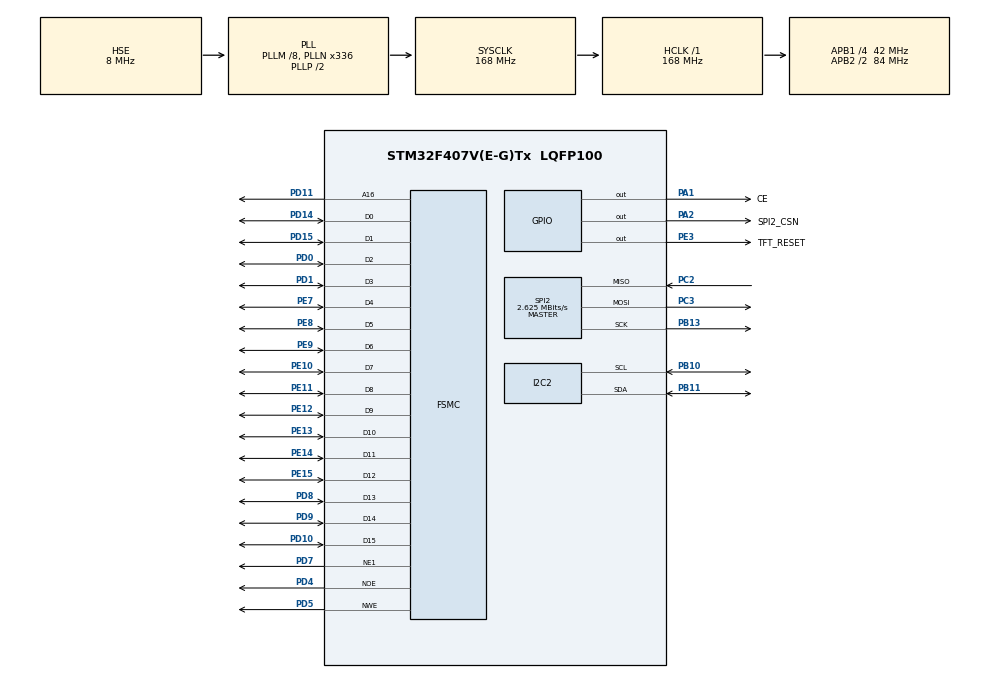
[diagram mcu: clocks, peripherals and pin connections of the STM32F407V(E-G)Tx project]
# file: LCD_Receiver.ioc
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FSMC.AddressSetupTime1=2
FSMC.BusTurnAroundDuration1=1
FSMC.DataSetupTime1=4
Mcu.Family=STM32F4
Mcu.Name=STM32F407V(E-G)Tx
Mcu.Package=LQFP100
NVIC.PriorityGroup=NVIC_PRIORITYGROUP_0
PA1.GPIO_Label=CE
PA1.GPIO_Speed=GPIO_SPEED_FREQ_HIGH
PA1.Signal=GPIO_Output
PA2.GPIO_Label=SPI2_CSN
PA2.GPIO_Speed=GPIO_SPEED_FREQ_HIGH
PA2.PinState=GPIO_PIN_SET
PA2.Signal=GPIO_Output
PB10.GPIO_Pu=GPIO_PULLUP
PB10.Mode=I2C
PB10.Signal=I2C2_SCL
PB11.GPIO_Pu=GPIO_PULLUP
PB11.Mode=I2C
PB11.Signal=I2C2_SDA
PB13.Mode=Full_Duplex_Master
PB13.Signal=SPI2_SCK
PC2.Mode=Full_Duplex_Master
PC2.Signal=SPI2_MISO
PC3.Mode=Full_Duplex_Master
PC3.Signal=SPI2_MOSI
PD0.Mode=16b-d1
PD0.Signal=FSMC_D2
PD1.Mode=16b-d1
PD1.Signal=FSMC_D3
PD10.Mode=16b-d1
PD10.Signal=FSMC_D15
PD11.Mode=A16_1
PD11.Signal=FSMC_A16
PD14.Mode=16b-d1
PD14.Signal=FSMC_D0
PD15.Mode=16b-d1
PD15.Signal=FSMC_D1
PD4.Mode=Lcd1
PD4.Signal=FSMC_NOE
PD5.Mode=Lcd1
PD5.Signal=FSMC_NWE
PD7.Mode=NorPsramChipSelect1_1
PD7.Signal=FSMC_NE1
PD8.Mode=16b-d1
PD8.Signal=FSMC_D13
PD9.Mode=16b-d1
PD9.Signal=FSMC_D14
PE10.Mode=16b-d1
PE10.Signal=FSMC_D7
PE11.Mode=16b-d1
PE11.Signal=FSMC_D8
PE12.Mode=16b-d1
PE12.Signal=FSMC_D9
PE13.Mode=16b-d1
PE13.Signal=FSMC_D10
PE14.Mode=16b-d1
PE14.Signal=FSMC_D11
PE15.Mode=16b-d1
PE15.Signal=FSMC_D12
PE3.GPIO_Label=TFT_RESET
PE3.PinState=GPIO_PIN_SET
PE3.Signal=GPIO_Output
PE7.Mode=16b-d1
PE7.Signal=FSMC_D4
PE8.Mode=16b-d1
PE8.Signal=FSMC_D5
PE9.Mode=16b-d1
PE9.Signal=FSMC_D6
PH0-OSC_IN.Mode=HSE-External-Oscillator
PH0-OSC_IN.Signal=RCC_OSC_IN
PH1-OSC_OUT.Mode=HSE-External-Oscillator
PH1-OSC_OUT.Signal=RCC_OSC_OUT
ProjectManager.HeapSize=0x200
ProjectManager.StackSize=0x400
ProjectManager.TargetToolchain=STM32CubeIDE
RCC.48MHZClocksFreq_Value=48000000
RCC.AHBFreq_Value=168000000
RCC.APB1CLKDivider=RCC_HCLK_DIV4
RCC.APB1Freq_Value=42000000
RCC.APB1TimFreq_Value=84000000
RCC.APB2CLKDivider=RCC_HCLK_DIV2
RCC.APB2Freq_Value=84000000
RCC.APB2TimFreq_Value=168000000
RCC.CortexFreq_Value=168000000
RCC.HCLKFreq_Value=168000000
RCC.HSE_VALUE=8000000
RCC.HSI_VALUE=16000000
RCC.LSE_VALUE=32768
RCC.PLLM=8
RCC.PLLN=336
RCC.PLLQ=7
RCC.PLLSourceVirtual=RCC_PLLSOURCE_HSE
RCC.RCC_MCO1Source=RCC_MCO1SOURCE_PLLCLK
RCC.RCC_MCODiv1=RCC_MCODIV_4
RCC.SYSCLKFreq_VALUE=168000000
RCC.SYSCLKSource=RCC_SYSCLKSOURCE_PLLCLK
RCC.VCOOutputFreq_Value=336000000
SPI2.BaudRatePrescaler=SPI_BAUDRATEPRESCALER_16
SPI2.CalculateBaudRate=2.625 MBits/s
SPI2.Direction=SPI_DIRECTION_2LINES
SPI2.Mode=SPI_MODE_MASTER
SPI2.VirtualType=VM_MASTER
board=STM32F407G-DISC1

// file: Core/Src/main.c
/* USER CODE BEGIN Header */
/**
  ******************************************************************************
  * @file           : main.c
  * @brief          : Main program body
  ******************************************************************************
  * @attention
  *
  * Copyright (c) 2024 STMicroelectronics.
  * All rights reserved.
  *
  * This software is licensed under terms that can be found in the LICENSE file
  * in the root directory of this software component.
  * If no LICENSE file comes with this software, it is provided AS-IS.
  *
  ******************************************************************************
  */
/* USER CODE END Header */
#include "main.h"

/* USER CODE BEGIN Includes */
#include  <stdio.h>
#include  <string.h>
#include "lcdIli9341.h"
#include  "MY_NRF24.h"
/* USER CODE END Includes */

I2C_HandleTypeDef hi2c2;

SPI_HandleTypeDef hspi2;

SRAM_HandleTypeDef hsram1;

/* USER CODE BEGIN PV */
uint64_t RxpipeAddrs  = 0x11223344AA;
uint8_t  myRxData[32] = {0};
uint16_t dummyLine[320]    = {0};

uint16_t oldPixelIndex = 0xFF;
uint16_t newPixelIndex = 0xFF;
uint16_t pixelCounter = 0;
uint16_t lineCounter = 0;

/* USER CODE END PV */

void SystemClock_Config(void);
static void MX_GPIO_Init(void);
static void MX_FSMC_Init(void);
static void MX_I2C2_Init(void);
static void MX_SPI2_Init(void);

/* USER CODE BEGIN 0 */

void parseNrfOutput(uint8_t *rx_data)
{

	newPixelIndex = ((uint16_t)rx_data[1] + ((uint16_t)rx_data[0] << 8));

    if(newPixelIndex != oldPixelIndex)
    {

        for(int i = 0; i < 30; i+=2)
        {
            if(pixelCounter == (1600 - 320))
            {
                dummyLine[lineCounter] = ((uint16_t)rx_data[i+1] + ((uint16_t)rx_data[i] << 8));
                Ili9341_WriteData(dummyLine[lineCounter]);
                lineCounter++;

                if(lineCounter == 320)
                {
                    // Dont Lose any data while writing dummy data
                    NRF24_stopListening();
                    lineCounter  = 0;
                    pixelCounter = 0;

                    for(int i = 0; i < 320; i++)
                        Ili9341_WriteData(dummyLine[i]);

                    Ili9341_SetArea(0, 0, LCD_ILI9341_WIDTH, LCD_ILI9341_HEIGHT);
                    NRF24_startListening();
                }
            }
            else
            {
                Ili9341_WriteData(((uint16_t)rx_data[i+1] + ((uint16_t)rx_data[i] << 8)));
            }
        }

        pixelCounter += 15;

    }
}

/* USER CODE END 0 */

int main(void)
{

  /* MCU Configuration--------------------------------------------------------*/

  /* Reset of all peripherals, Initializes the Flash interface and the Systick. */
  HAL_Init();

  /* Configure the system clock */
  SystemClock_Config();

  /* Initialize all configured peripherals */
  MX_GPIO_Init();
  MX_FSMC_Init();
  MX_I2C2_Init();
  MX_SPI2_Init();
  /* USER CODE BEGIN 2 */

  Ili9341_Init(LCD_ILI9341_WIDTH, LCD_ILI9341_HEIGHT);
  Ili9341_SetArea(0, 0, LCD_ILI9341_WIDTH, LCD_ILI9341_HEIGHT);

  /* Initialize NRF24 Module with Auto-ACK */
  NRF24_begin(GPIOA, GPIO_PIN_2, GPIO_PIN_1, hspi2);
  NRF24_setAutoAck(true);
  NRF24_setChannel(52);
  NRF24_setPayloadSize(32);
  NRF24_openReadingPipe(1, RxpipeAddrs);
  NRF24_startListening();

  /* USER CODE END 2 */

  /* Infinite loop */
  while (1)
  {

    /* USER CODE BEGIN 3 */

	  /* RX Pipe cannot be cleared immediately */
	    while(NRF24_available())
	    {

	    NRF24_read(myRxData, 32);
	    parseNrfOutput(myRxData);

	    }

  }
  /* USER CODE END 3 */
}

void SystemClock_Config(void)
{
  RCC_OscInitTypeDef RCC_OscInitStruct = {0};
  RCC_ClkInitTypeDef RCC_ClkInitStruct = {0};

  /** Configure the main internal regulator output voltage
  */
  __HAL_RCC_PWR_CLK_ENABLE();
  __HAL_PWR_VOLTAGESCALING_CONFIG(PWR_REGULATOR_VOLTAGE_SCALE1);

  /** Initializes the RCC Oscillators according to the specified parameters
  * in the RCC_OscInitTypeDef structure.
  */
  RCC_OscInitStruct.OscillatorType = RCC_OSCILLATORTYPE_HSE;
  RCC_OscInitStruct.HSEState = RCC_HSE_ON;
  RCC_OscInitStruct.PLL.PLLState = RCC_PLL_ON;
  RCC_OscInitStruct.PLL.PLLSource = RCC_PLLSOURCE_HSE;
  RCC_OscInitStruct.PLL.PLLM = 8;
  RCC_OscInitStruct.PLL.PLLN = 336;
  RCC_OscInitStruct.PLL.PLLP = RCC_PLLP_DIV2;
  RCC_OscInitStruct.PLL.PLLQ = 7;
  if (HAL_RCC_OscConfig(&RCC_OscInitStruct) != HAL_OK)
  {
    Error_Handler();
  }

  /** Initializes the CPU, AHB and APB buses clocks
  */
  RCC_ClkInitStruct.ClockType = RCC_CLOCKTYPE_HCLK|RCC_CLOCKTYPE_SYSCLK
                              |RCC_CLOCKTYPE_PCLK1|RCC_CLOCKTYPE_PCLK2;
  RCC_ClkInitStruct.SYSCLKSource = RCC_SYSCLKSOURCE_PLLCLK;
  RCC_ClkInitStruct.AHBCLKDivider = RCC_SYSCLK_DIV1;
  RCC_ClkInitStruct.APB1CLKDivider = RCC_HCLK_DIV4;
  RCC_ClkInitStruct.APB2CLKDivider = RCC_HCLK_DIV2;

  if (HAL_RCC_ClockConfig(&RCC_ClkInitStruct, FLASH_LATENCY_5) != HAL_OK)
  {
    Error_Handler();
  }
}

static void MX_I2C2_Init(void)
{

  hi2c2.Instance = I2C2;
  hi2c2.Init.ClockSpeed = 100000;
  hi2c2.Init.DutyCycle = I2C_DUTYCYCLE_2;
  hi2c2.Init.OwnAddress1 = 0;
  hi2c2.Init.AddressingMode = I2C_ADDRESSINGMODE_7BIT;
  hi2c2.Init.DualAddressMode = I2C_DUALADDRESS_DISABLE;
  hi2c2.Init.OwnAddress2 = 0;
  hi2c2.Init.GeneralCallMode = I2C_GENERALCALL_DISABLE;
  hi2c2.Init.NoStretchMode = I2C_NOSTRETCH_DISABLE;
  if (HAL_I2C_Init(&hi2c2) != HAL_OK)
  {
    Error_Handler();
  }

}

static void MX_SPI2_Init(void)
{

  /* SPI2 parameter configuration*/
  hspi2.Instance = SPI2;
  hspi2.Init.Mode = SPI_MODE_MASTER;
  hspi2.Init.Direction = SPI_DIRECTION_2LINES;
  hspi2.Init.DataSize = SPI_DATASIZE_8BIT;
  hspi2.Init.CLKPolarity = SPI_POLARITY_LOW;
  hspi2.Init.CLKPhase = SPI_PHASE_1EDGE;
  hspi2.Init.NSS = SPI_NSS_SOFT;
  hspi2.Init.BaudRatePrescaler = SPI_BAUDRATEPRESCALER_16;
  hspi2.Init.FirstBit = SPI_FIRSTBIT_MSB;
  hspi2.Init.TIMode = SPI_TIMODE_DISABLE;
  hspi2.Init.CRCCalculation = SPI_CRCCALCULATION_DISABLE;
  hspi2.Init.CRCPolynomial = 10;
  if (HAL_SPI_Init(&hspi2) != HAL_OK)
  {
    Error_Handler();
  }

}

static void MX_GPIO_Init(void)
{
  GPIO_InitTypeDef GPIO_InitStruct = {0};

  /* GPIO Ports Clock Enable */
  __HAL_RCC_GPIOE_CLK_ENABLE();
  __HAL_RCC_GPIOH_CLK_ENABLE();
  __HAL_RCC_GPIOC_CLK_ENABLE();
  __HAL_RCC_GPIOA_CLK_ENABLE();
  __HAL_RCC_GPIOB_CLK_ENABLE();
  __HAL_RCC_GPIOD_CLK_ENABLE();

  /*Configure GPIO pin Output Level */
  HAL_GPIO_WritePin(TFT_RESET_GPIO_Port, TFT_RESET_Pin, GPIO_PIN_SET);

  /*Configure GPIO pin Output Level */
  HAL_GPIO_WritePin(CE_GPIO_Port, CE_Pin, GPIO_PIN_RESET);

  /*Configure GPIO pin Output Level */
  HAL_GPIO_WritePin(SPI2_CSN_GPIO_Port, SPI2_CSN_Pin, GPIO_PIN_SET);

  /*Configure GPIO pin : TFT_RESET_Pin */
  GPIO_InitStruct.Pin = TFT_RESET_Pin;
  GPIO_InitStruct.Mode = GPIO_MODE_OUTPUT_PP;
  GPIO_InitStruct.Pull = GPIO_NOPULL;
  GPIO_InitStruct.Speed = GPIO_SPEED_FREQ_LOW;
  HAL_GPIO_Init(TFT_RESET_GPIO_Port, &GPIO_InitStruct);

  /*Configure GPIO pins : CE_Pin SPI2_CSN_Pin */
  GPIO_InitStruct.Pin = CE_Pin|SPI2_CSN_Pin;
  GPIO_InitStruct.Mode = GPIO_MODE_OUTPUT_PP;
  GPIO_InitStruct.Pull = GPIO_NOPULL;
  GPIO_InitStruct.Speed = GPIO_SPEED_FREQ_HIGH;
  HAL_GPIO_Init(GPIOA, &GPIO_InitStruct);

}

/* FSMC initialization function */
static void MX_FSMC_Init(void)
{

  FSMC_NORSRAM_TimingTypeDef Timing = {0};

  /** Perform the SRAM1 memory initialization sequence
  */
  hsram1.Instance = FSMC_NORSRAM_DEVICE;
  hsram1.Extended = FSMC_NORSRAM_EXTENDED_DEVICE;
  /* hsram1.Init */
  hsram1.Init.NSBank = FSMC_NORSRAM_BANK1;
  hsram1.Init.DataAddressMux = FSMC_DATA_ADDRESS_MUX_DISABLE;
  hsram1.Init.MemoryType = FSMC_MEMORY_TYPE_SRAM;
  hsram1.Init.MemoryDataWidth = FSMC_NORSRAM_MEM_BUS_WIDTH_16;
  hsram1.Init.BurstAccessMode = FSMC_BURST_ACCESS_MODE_DISABLE;
  hsram1.Init.WaitSignalPolarity = FSMC_WAIT_SIGNAL_POLARITY_LOW;
  hsram1.Init.WrapMode = FSMC_WRAP_MODE_DISABLE;
  hsram1.Init.WaitSignalActive = FSMC_WAIT_TIMING_BEFORE_WS;
  hsram1.Init.WriteOperation = FSMC_WRITE_OPERATION_ENABLE;
  hsram1.Init.WaitSignal = FSMC_WAIT_SIGNAL_DISABLE;
  hsram1.Init.ExtendedMode = FSMC_EXTENDED_MODE_DISABLE;
  hsram1.Init.AsynchronousWait = FSMC_ASYNCHRONOUS_WAIT_DISABLE;
  hsram1.Init.WriteBurst = FSMC_WRITE_BURST_DISABLE;
  hsram1.Init.PageSize = FSMC_PAGE_SIZE_NONE;
  /* Timing */
  Timing.AddressSetupTime = 2;
  Timing.AddressHoldTime = 15;
  Timing.DataSetupTime = 4;
  Timing.BusTurnAroundDuration = 1;
  Timing.CLKDivision = 16;
  Timing.DataLatency = 17;
  Timing.AccessMode = FSMC_ACCESS_MODE_A;
  /* ExtTiming */

  if (HAL_SRAM_Init(&hsram1, &Timing, NULL) != HAL_OK)
  {
    Error_Handler( );
  }

}

void Error_Handler(void)
{
  __disable_irq();
  while (1)
  {
  }
}
